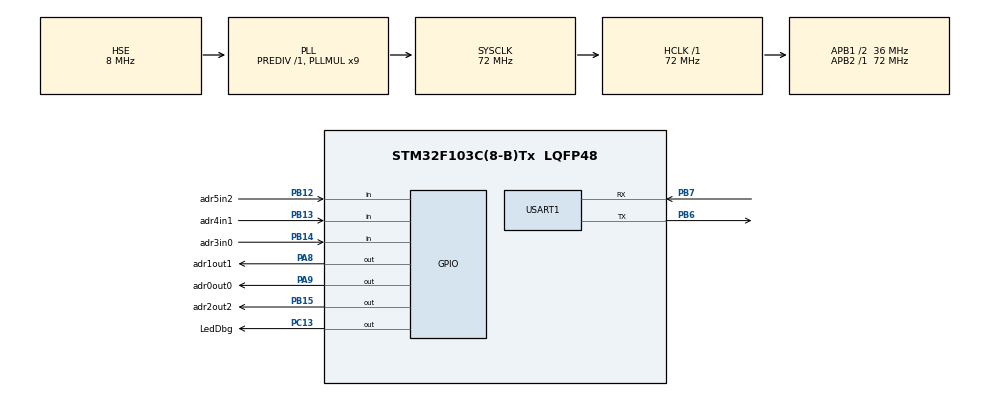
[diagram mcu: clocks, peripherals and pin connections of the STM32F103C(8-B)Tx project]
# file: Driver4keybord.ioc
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Mcu.Family=STM32F1
Mcu.Name=STM32F103C(8-B)Tx
Mcu.Package=LQFP48
NVIC.PriorityGroup=NVIC_PRIORITYGROUP_4
NVIC.TIM1_UP_IRQn=true\:0\:0\:false\:false\:true\:true\:true
NVIC.TIM2_IRQn=true\:0\:0\:false\:false\:true\:true\:true
NVIC.TIM3_IRQn=true\:0\:0\:false\:false\:true\:true\:true
NVIC.USART1_IRQn=true\:0\:0\:false\:false\:true\:true\:true
PA13.Mode=Serial_Wire
PA13.Signal=SYS_JTMS-SWDIO
PA14.Mode=Serial_Wire
PA14.Signal=SYS_JTCK-SWCLK
PA8.GPIO_Label=adr1out1
PA8.GPIO_ModeDefaultOutputPP=GPIO_MODE_OUTPUT_OD
PA8.GPIO_PuPd=GPIO_PULLUP
PA8.GPIO_Speed=GPIO_SPEED_FREQ_HIGH
PA8.Signal=GPIO_Output
PA9.GPIO_Label=adr0out0
PA9.GPIO_ModeDefaultOutputPP=GPIO_MODE_OUTPUT_OD
PA9.GPIO_PuPd=GPIO_PULLUP
PA9.GPIO_Speed=GPIO_SPEED_FREQ_HIGH
PA9.Signal=GPIO_Output
PB12.GPIO_Label=adr5in2
PB12.GPIO_PuPd=GPIO_PULLUP
PB12.Signal=GPIO_Input
PB13.GPIO_Label=adr4in1
PB13.GPIO_PuPd=GPIO_PULLUP
PB13.Signal=GPIO_Input
PB14.GPIO_Label=adr3in0
PB14.GPIO_PuPd=GPIO_PULLUP
PB14.Signal=GPIO_Input
PB15.GPIO_Label=adr2out2
PB15.GPIO_ModeDefaultOutputPP=GPIO_MODE_OUTPUT_OD
PB15.GPIO_PuPd=GPIO_PULLUP
PB15.GPIO_Speed=GPIO_SPEED_FREQ_HIGH
PB15.Signal=GPIO_Output
PB6.Mode=Asynchronous
PB6.Signal=USART1_TX
PB7.Mode=Asynchronous
PB7.Signal=USART1_RX
PC13-TAMPER-RTC.GPIO_Label=LedDbg
PC13-TAMPER-RTC.Signal=GPIO_Output
PD0-OSC_IN.Mode=HSE-External-Oscillator
PD0-OSC_IN.Signal=RCC_OSC_IN
PD1-OSC_OUT.Mode=HSE-External-Oscillator
PD1-OSC_OUT.Signal=RCC_OSC_OUT
ProjectManager.HeapSize=0x200
ProjectManager.StackSize=0x400
ProjectManager.TargetToolchain=STM32CubeIDE
RCC.AHBFreq_Value=72000000
RCC.APB1CLKDivider=RCC_HCLK_DIV2
RCC.APB1Freq_Value=36000000
RCC.APB1TimFreq_Value=72000000
RCC.APB2Freq_Value=72000000
RCC.APB2TimFreq_Value=72000000
RCC.HCLKFreq_Value=72000000
RCC.PLLMUL=RCC_PLL_MUL9
RCC.PLLSourceVirtual=RCC_PLLSOURCE_HSE
RCC.SYSCLKFreq_VALUE=72000000
RCC.SYSCLKSource=RCC_SYSCLKSOURCE_PLLCLK
RCC.USBFreq_Value=72000000
TIM1.Period=9999
TIM1.Prescaler=71
TIM1.TIM_MasterOutputTrigger=TIM_TRGO_RESET
TIM2.Period=719
TIM2.Prescaler=0
TIM3.Period=999
TIM3.Prescaler=71
USART1.VirtualMode=VM_ASYNC
VP_TIM1_VS_ClockSourceINT.Mode=Internal
VP_TIM2_VS_ClockSourceINT.Mode=Internal
VP_TIM3_VS_ClockSourceINT.Mode=Internal
board=custom

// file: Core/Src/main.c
/* USER CODE BEGIN Header */
/**
  ******************************************************************************
  * @file           : main.c
  * @brief          : Main program body
  ******************************************************************************
  * @attention
  *
  * Copyright (c) 2023 STMicroelectronics.
  * All rights reserved.
  *
  * This software is licensed under terms that can be found in the LICENSE file
  * in the root directory of this software component.
  * If no LICENSE file comes with this software, it is provided AS-IS.
  *
  ******************************************************************************
  ******************************************************************************
  ******************************************************************************

  	  Драйвер для клавиатуры 3х8 на МС 74HC138

  */
/* USER CODE END Header */
#include "main.h"
#include "tim.h"
#include "usart.h"
#include "gpio.h"

/* USER CODE BEGIN Includes */
#include "string.h"
#include "stdio.h"
//#include "math.h"
/* USER CODE END Includes */

/* USER CODE BEGIN PD */
// Задержка автонажания					3с	=3000мс
// Период вывода автонажатия			0,5с=500мс
// Время фиксации простого нажатия		0,1с=100мс
#define PER_OPR_KB 1000		//период опроса клавиатуры х10мкс (10000=>10мс=>100Гц)
#define VREM_FIX_KEY 10000		//время фиксации простого нажатия х10мкс (=100мс)
#define VREM_FIX_PRKEY 300000	//время фиксации зажагого нажатия х10мкс (=3000мс)
#define VREM_POVTOR_KEY 50000	//время/период повтора при долгом нажатии х10мкс (=500мс)
/* USER CODE END PD */

/* USER CODE BEGIN PV */
char uartBuf[64]={0,};
volatile uint32_t keyKeybord=0;
volatile uint8_t adrOprosa=0;
volatile _Bool oprosStart=0;
volatile _Bool oprosKB=0;
_Bool printNorm=0;
_Bool key1LongPress=0;
_Bool key2LongPress=0;
_Bool key1NormPress=0;
_Bool key2NormPress=0;
_Bool printLong=0;

volatile uint32_t countOprKB=0;
volatile uint32_t countPovtorPrint=0;

uint32_t countPresKey1=0;
uint32_t countPresKey2=0;

uint8_t  numKey1=0;
uint8_t  numKey2=0;
uint8_t  najKey1=0;
uint8_t  najKey2=0;
uint8_t  kolKeyOn=0;

/* USER CODE END PV */

void SystemClock_Config(void);

/* USER CODE BEGIN 0 */
void HAL_TIM_PeriodElapsedCallback(TIM_HandleTypeDef *htim){
	if(htim->Instance==TIM1){		// каждые 10мс
		//для отладки
	}
	if(htim->Instance==TIM2){		// каждые 10мкс
		countPovtorPrint++;
		countPresKey1++;
		countPresKey2++;
		if (adrOprosa) {oprosStart=1;} else {countOprKB++;}
		if (countOprKB>=PER_OPR_KB) {oprosStart=1; countOprKB=0;}
	}
	if(htim->Instance==TIM3){
		//для отладки
	}
}

uint8_t OprosKeybord (uint8_t adres){
	uint8_t  key1=0;
	uint8_t  key2=0;
	uint8_t  key3=0;

	if (!(adres & 0x01)){
		//Установка кода на HC138 для опроса клавиш (активное состояние л0!)
		if (adres&(1<<1)) {adr0out0_GPIO_Port->ODR |= adr0out0_Pin;} else {adr0out0_GPIO_Port->ODR &=~ adr0out0_Pin;}
		if (adres&(1<<2)) {adr1out1_GPIO_Port->ODR |= adr1out1_Pin;} else {adr1out1_GPIO_Port->ODR &=~ adr1out1_Pin;}
		if (adres&(1<<3)) {adr2out2_GPIO_Port->ODR |= adr2out2_Pin;} else {adr2out2_GPIO_Port->ODR &=~ adr2out2_Pin;}
	}
	else {
		//Проверка состояния входов (проверяем л0)
		adres=adres>>1;
		if (adr3in0_GPIO_Port->IDR & adr3in0_Pin)	{key1 &=~ (1<<3); keyKeybord &=~ (1<<(0+adres));}
		else										{key1 |= (1<<3);  keyKeybord |= (1<<(0+adres)); }

		if (adr4in1_GPIO_Port->IDR & adr4in1_Pin)	{key2 &=~ (1<<4); keyKeybord &=~ (1<<(1+adres));}
		else										{key2 |= (1<<4);  keyKeybord |= (1<<(1+adres));}

		if (adr5in2_GPIO_Port->IDR & adr5in2_Pin)	{key3 &=~ (1<<5); keyKeybord &=~ (1<<(2+adres));}
		else										{key3 |= (1<<5);  keyKeybord |= (1<<(2+adres));}

		//проверка 3х нажатых в одном столбце
		if (key1 && key2 && key3) {key1=0;key2=0;key3=0; numKey1=0; numKey2=0;  return (0xfe);}

		//проверка 3х нажатых в общем опросе клавы
		if (numKey1 && numKey2 && (key1|key2|key3)) {key1=0;key2=0;key3=0; numKey1=0; numKey2=0;  return (0xff);}

		//присвоение
		if (!(numKey1)) {
			if(key1) {numKey1=key1|adres; key1=0;} else if(key2) {numKey1=key2|adres; key2=0;} else if(key3) {numKey1=key3|adres; key3=0;}
		}
		if (!(numKey2)) {
			if(key1) {numKey2=key1|adres;} else if(key2) {numKey2=key2|adres;} else if(key3) {numKey2=key3|adres;}
		}
	}
	//возвращаем пустышку или вон аварийную ситуацию
	return (kolKeyOn);
}

/* USER CODE END 0 */

int main(void)
{

  /* MCU Configuration--------------------------------------------------------*/

  /* Reset of all peripherals, Initializes the Flash interface and the Systick. */
  HAL_Init();

  /* Configure the system clock */
  SystemClock_Config();

  /* Initialize all configured peripherals */
  MX_GPIO_Init();
  MX_TIM1_Init();
  MX_TIM2_Init();
  MX_USART1_UART_Init();
  MX_TIM3_Init();
  /* USER CODE BEGIN 2 */
  HAL_TIM_Base_Start_IT(&htim1);
  HAL_TIM_Base_Start_IT(&htim2);
  HAL_TIM_Base_Start_IT(&htim3);
  /* USER CODE END 2 */

  /* Infinite loop */
  /* USER CODE BEGIN WHILE */
while (1){
	uint16_t sizeString=0;
	uint8_t kolNaj=0;
	char uartBuf [64]={0,};

	/* Каждые 10мкс тикает таймер поднимает oprosStart
	 * (т.е. частота опроса группы (1столбец=3клавиши) кнопок 100кГц) (Совокупность времени реакции 74HC138 из даташит адрес-выход ~528ns (1,893МГц) вроде бы:) )
	 * (вприципе можно поднять частоту опроса)
	 */

	// Опрашиваем клавиатуру 8 раз по 3 кнопки (фиксируем нажатые кнопки),
	// но чтоб чётко выставился адрес вставлю доп обращения
	if (oprosStart){
		kolNaj = OprosKeybord(adrOprosa);
		adrOprosa++;
		//у HC 8 состояний выхода (в каждом по 3 кнопки)
		if (adrOprosa>=16){adrOprosa=0; oprosKB=1;}
		oprosStart=0;
	}

	//фиксация кнопок
	if (oprosKB){
		if (numKey1!=najKey1) {najKey1=numKey1; countPresKey1=0; printLong=0; key1NormPress=0; key1LongPress=0;}
		if (numKey2!=najKey2) {najKey2=numKey2; countPresKey2=0; printLong=0; key2NormPress=0; key2LongPress=0;}
		numKey1=0; numKey2=0;
		oprosKB=0;
	}

	//фиксация длительного нажатия
	if (!key1LongPress && najKey1 && (countPresKey1>=VREM_FIX_PRKEY)){
		printLong=1; countPovtorPrint=0;
		key1LongPress=1;
	}
	if (!key2LongPress && najKey2 && (countPresKey2>=VREM_FIX_PRKEY)){
		printLong=1; countPovtorPrint=0;
		key2LongPress=1;
	}

	//фиксация обычного нажатия
	if (!key1NormPress && najKey1 && (countPresKey1>=VREM_FIX_KEY)){ //
		key1NormPress=1;
		printNorm=1;
	}
	if (!key2NormPress && najKey2 && (countPresKey2>=VREM_FIX_KEY)){
		key2NormPress=1;
		printNorm=1;
	}

	//вывод(печать)
	if (kolNaj == 0xfe){
		sizeString=sprintf(uartBuf, "Eror: Over 2 key/ryad!\r\n");
		HAL_UART_Transmit(&huart1, (uint8_t*)uartBuf, sizeString,100);
		HAL_Delay(1000);
		kolNaj=0;
	}
	if (kolNaj == 0xff){
		sizeString=sprintf(uartBuf, "Eror: Over 2 key/KB!\r\n");
		HAL_UART_Transmit(&huart1, (uint8_t*)uartBuf, sizeString,100);
		HAL_Delay(1000);
		kolNaj=0;
	}
	if (printNorm){
		sizeString=sprintf(uartBuf, "Key1: % 3d\t\tKey2: % 3d\r\n", najKey1, najKey2);
		HAL_UART_Transmit(&huart1, (uint8_t*)uartBuf, sizeString,30);
		printNorm=0;
	}
	if ((printLong)&&(countPovtorPrint>=VREM_POVTOR_KEY)) {	//countLongKey
		sizeString=sprintf(uartBuf, "LongKey1: % 3d\t\tLongKey2: % 3d\r\n", najKey1, najKey2);
		HAL_UART_Transmit(&huart1, (uint8_t*)uartBuf, sizeString,30);
		countPovtorPrint=0;
	}

    /* USER CODE END WHILE */

  }
}

void SystemClock_Config(void)
{
  RCC_OscInitTypeDef RCC_OscInitStruct = {0};
  RCC_ClkInitTypeDef RCC_ClkInitStruct = {0};

  /** Initializes the RCC Oscillators according to the specified parameters
  * in the RCC_OscInitTypeDef structure.
  */
  RCC_OscInitStruct.OscillatorType = RCC_OSCILLATORTYPE_HSE;
  RCC_OscInitStruct.HSEState = RCC_HSE_ON;
  RCC_OscInitStruct.HSEPredivValue = RCC_HSE_PREDIV_DIV1;
  RCC_OscInitStruct.HSIState = RCC_HSI_ON;
  RCC_OscInitStruct.PLL.PLLState = RCC_PLL_ON;
  RCC_OscInitStruct.PLL.PLLSource = RCC_PLLSOURCE_HSE;
  RCC_OscInitStruct.PLL.PLLMUL = RCC_PLL_MUL9;
  if (HAL_RCC_OscConfig(&RCC_OscInitStruct) != HAL_OK)
  {
    Error_Handler();
  }
  /** Initializes the CPU, AHB and APB buses clocks
  */
  RCC_ClkInitStruct.ClockType = RCC_CLOCKTYPE_HCLK|RCC_CLOCKTYPE_SYSCLK
                              |RCC_CLOCKTYPE_PCLK1|RCC_CLOCKTYPE_PCLK2;
  RCC_ClkInitStruct.SYSCLKSource = RCC_SYSCLKSOURCE_PLLCLK;
  RCC_ClkInitStruct.AHBCLKDivider = RCC_SYSCLK_DIV1;
  RCC_ClkInitStruct.APB1CLKDivider = RCC_HCLK_DIV2;
  RCC_ClkInitStruct.APB2CLKDivider = RCC_HCLK_DIV1;

  if (HAL_RCC_ClockConfig(&RCC_ClkInitStruct, FLASH_LATENCY_2) != HAL_OK)
  {
    Error_Handler();
  }
}

void Error_Handler(void)
{
  __disable_irq();
  while (1)
  {
  }
}
